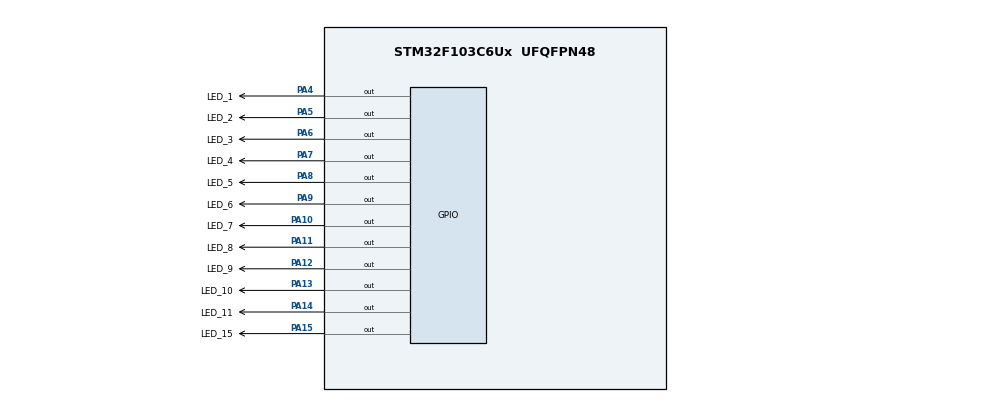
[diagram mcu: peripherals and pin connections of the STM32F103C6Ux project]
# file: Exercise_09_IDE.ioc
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Mcu.Family=STM32F1
Mcu.Name=STM32F103C6Ux
Mcu.Package=UFQFPN48
NVIC.PriorityGroup=NVIC_PRIORITYGROUP_4
PA10.GPIO_Label=LED_7
PA10.PinState=GPIO_PIN_SET
PA10.Signal=GPIO_Output
PA11.GPIO_Label=LED_8
PA11.PinState=GPIO_PIN_SET
PA11.Signal=GPIO_Output
PA12.GPIO_Label=LED_9
PA12.PinState=GPIO_PIN_SET
PA12.Signal=GPIO_Output
PA13.GPIO_Label=LED_10
PA13.PinState=GPIO_PIN_SET
PA13.Signal=GPIO_Output
PA14.GPIO_Label=LED_11
PA14.PinState=GPIO_PIN_SET
PA14.Signal=GPIO_Output
PA15.GPIO_Label=LED_15
PA15.PinState=GPIO_PIN_SET
PA15.Signal=GPIO_Output
PA4.GPIO_Label=LED_1
PA4.PinState=GPIO_PIN_SET
PA4.Signal=GPIO_Output
PA5.GPIO_Label=LED_2
PA5.PinState=GPIO_PIN_SET
PA5.Signal=GPIO_Output
PA6.GPIO_Label=LED_3
PA6.PinState=GPIO_PIN_SET
PA6.Signal=GPIO_Output
PA7.GPIO_Label=LED_4
PA7.PinState=GPIO_PIN_SET
PA7.Signal=GPIO_Output
PA8.GPIO_Label=LED_5
PA8.PinState=GPIO_PIN_SET
PA8.Signal=GPIO_Output
PA9.GPIO_Label=LED_6
PA9.PinState=GPIO_PIN_SET
PA9.Signal=GPIO_Output
ProjectManager.HeapSize=0x200
ProjectManager.StackSize=0x400
ProjectManager.TargetToolchain=STM32CubeIDE
RCC.APB1Freq_Value=8000000
RCC.APB2Freq_Value=8000000
VP_SYS_VS_ND.Mode=No_Debug
board=custom

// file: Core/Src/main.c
/* USER CODE BEGIN Header */
/**
  ******************************************************************************
  * @file           : main.c
  * @brief          : Main program body
  ******************************************************************************
  * @attention
  *
  * Copyright (c) 2026 STMicroelectronics.
  * All rights reserved.
  *
  * This software is licensed under terms that can be found in the LICENSE file
  * in the root directory of this software component.
  * If no LICENSE file comes with this software, it is provided AS-IS.
  *
  ******************************************************************************
  */
/* USER CODE END Header */
#include "main.h"

/* USER CODE BEGIN PV */

static const uint16_t ledPin[12] = {
		LED_1_Pin,
		LED_2_Pin,
		LED_3_Pin,
		LED_4_Pin,
		LED_5_Pin,
		LED_6_Pin,
		LED_7_Pin,
		LED_8_Pin,
		LED_9_Pin,
		LED_10_Pin,
		LED_11_Pin,
		LED_15_Pin
};

/* USER CODE END PV */

void SystemClock_Config(void);
static void MX_GPIO_Init(void);
/* USER CODE BEGIN PFP */
void setNumberOnClock(int num);
void clearNumberOnClock(int num);

/* USER CODE END PFP */

/* USER CODE BEGIN 0 */
void setNumberOnClock(int num)
{
    if (num < 0 || num >= 12)
    {
        return;
    }

    HAL_GPIO_WritePin(
        GPIOA,
        ledPin[num],
        GPIO_PIN_RESET
    );
}

void clearNumberOnClock(int num)
{
    if (num < 0 || num >= 12)
    {
        return;
    }

    HAL_GPIO_WritePin(
        GPIOA,
        ledPin[num],
        GPIO_PIN_SET
    );
}

/* USER CODE END 0 */

int main(void)
{

  /* MCU Configuration--------------------------------------------------------*/

  /* Reset of all peripherals, Initializes the Flash interface and the Systick. */
  HAL_Init();

  /* Configure the system clock */
  SystemClock_Config();

  /* Initialize all configured peripherals */
  MX_GPIO_Init();

  /* Infinite loop */
  /* USER CODE BEGIN WHILE */
  while (1)
  {
	  for (int i = 0; i < 12; i++) {
		  setNumberOnClock(i);
		  HAL_Delay(500);
		  clearNumberOnClock(i);
		  HAL_Delay(500);
	  }
    /* USER CODE END WHILE */

  }
}

void SystemClock_Config(void)
{
  RCC_OscInitTypeDef RCC_OscInitStruct = {0};
  RCC_ClkInitTypeDef RCC_ClkInitStruct = {0};

  /** Initializes the RCC Oscillators according to the specified parameters
  * in the RCC_OscInitTypeDef structure.
  */
  RCC_OscInitStruct.OscillatorType = RCC_OSCILLATORTYPE_HSI;
  RCC_OscInitStruct.HSIState = RCC_HSI_ON;
  RCC_OscInitStruct.HSICalibrationValue = RCC_HSICALIBRATION_DEFAULT;
  RCC_OscInitStruct.PLL.PLLState = RCC_PLL_NONE;
  if (HAL_RCC_OscConfig(&RCC_OscInitStruct) != HAL_OK)
  {
    Error_Handler();
  }

  /** Initializes the CPU, AHB and APB buses clocks
  */
  RCC_ClkInitStruct.ClockType = RCC_CLOCKTYPE_HCLK|RCC_CLOCKTYPE_SYSCLK
                              |RCC_CLOCKTYPE_PCLK1|RCC_CLOCKTYPE_PCLK2;
  RCC_ClkInitStruct.SYSCLKSource = RCC_SYSCLKSOURCE_HSI;
  RCC_ClkInitStruct.AHBCLKDivider = RCC_SYSCLK_DIV1;
  RCC_ClkInitStruct.APB1CLKDivider = RCC_HCLK_DIV1;
  RCC_ClkInitStruct.APB2CLKDivider = RCC_HCLK_DIV1;

  if (HAL_RCC_ClockConfig(&RCC_ClkInitStruct, FLASH_LATENCY_0) != HAL_OK)
  {
    Error_Handler();
  }
}

static void MX_GPIO_Init(void)
{
  GPIO_InitTypeDef GPIO_InitStruct = {0};

  /* GPIO Ports Clock Enable */
  __HAL_RCC_GPIOA_CLK_ENABLE();

  /*Configure GPIO pin Output Level */
  HAL_GPIO_WritePin(GPIOA, LED_1_Pin|LED_2_Pin|LED_3_Pin|LED_4_Pin
                          |LED_5_Pin|LED_6_Pin|LED_7_Pin|LED_8_Pin
                          |LED_9_Pin|LED_10_Pin|LED_11_Pin|LED_15_Pin, GPIO_PIN_SET);

  /*Configure GPIO pins : LED_1_Pin LED_2_Pin LED_3_Pin LED_4_Pin
                           LED_5_Pin LED_6_Pin LED_7_Pin LED_8_Pin
                           LED_9_Pin LED_10_Pin LED_11_Pin LED_15_Pin */
  GPIO_InitStruct.Pin = LED_1_Pin|LED_2_Pin|LED_3_Pin|LED_4_Pin
                          |LED_5_Pin|LED_6_Pin|LED_7_Pin|LED_8_Pin
                          |LED_9_Pin|LED_10_Pin|LED_11_Pin|LED_15_Pin;
  GPIO_InitStruct.Mode = GPIO_MODE_OUTPUT_PP;
  GPIO_InitStruct.Pull = GPIO_NOPULL;
  GPIO_InitStruct.Speed = GPIO_SPEED_FREQ_LOW;
  HAL_GPIO_Init(GPIOA, &GPIO_InitStruct);

}

void Error_Handler(void)
{
  __disable_irq();
  while (1)
  {
  }
}
